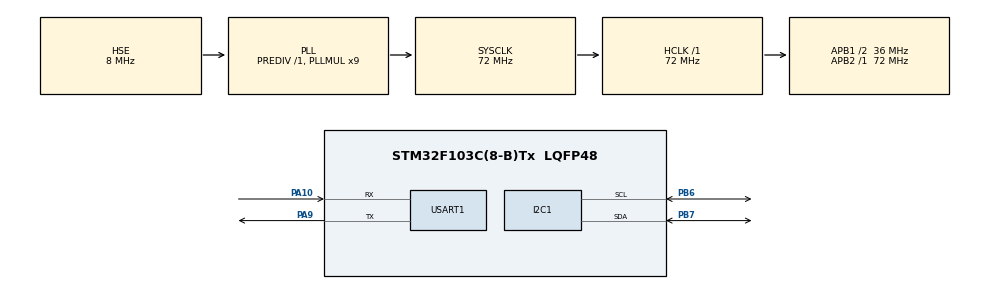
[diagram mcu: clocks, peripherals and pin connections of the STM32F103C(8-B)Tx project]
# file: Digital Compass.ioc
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Mcu.Family=STM32F1
Mcu.Name=STM32F103C(8-B)Tx
Mcu.Package=LQFP48
NVIC.PriorityGroup=NVIC_PRIORITYGROUP_4
PA10.Mode=Asynchronous
PA10.Signal=USART1_RX
PA13.Mode=Serial_Wire
PA13.Signal=SYS_JTMS-SWDIO
PA14.Mode=Serial_Wire
PA14.Signal=SYS_JTCK-SWCLK
PA9.Mode=Asynchronous
PA9.Signal=USART1_TX
PB6.Mode=I2C
PB6.Signal=I2C1_SCL
PB7.Mode=I2C
PB7.Signal=I2C1_SDA
PD0-OSC_IN.Mode=HSE-External-Oscillator
PD0-OSC_IN.Signal=RCC_OSC_IN
PD1-OSC_OUT.Mode=HSE-External-Oscillator
PD1-OSC_OUT.Signal=RCC_OSC_OUT
ProjectManager.HeapSize=0x200
ProjectManager.StackSize=0x400
ProjectManager.TargetToolchain=STM32CubeIDE
RCC.AHBFreq_Value=72000000
RCC.APB1CLKDivider=RCC_HCLK_DIV2
RCC.APB1Freq_Value=36000000
RCC.APB1TimFreq_Value=72000000
RCC.APB2Freq_Value=72000000
RCC.APB2TimFreq_Value=72000000
RCC.HCLKFreq_Value=72000000
RCC.PLLMUL=RCC_PLL_MUL9
RCC.PLLSourceVirtual=RCC_PLLSOURCE_HSE
RCC.SYSCLKFreq_VALUE=72000000
RCC.SYSCLKSource=RCC_SYSCLKSOURCE_PLLCLK
RCC.USBFreq_Value=72000000
USART1.VirtualMode=VM_ASYNC
board=custom

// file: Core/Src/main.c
/* USER CODE BEGIN Header */
/**
  ******************************************************************************
  * @file           : main.c
  * @brief          : Main program body
  ******************************************************************************
  * @attention
  *
  * Copyright (c) 2024 STMicroelectronics.
  * All rights reserved.
  *
  * This software is licensed under terms that can be found in the LICENSE file
  * in the root directory of this software component.
  * If no LICENSE file comes with this software, it is provided AS-IS.
  *
  ******************************************************************************
  */
/* USER CODE END Header */
#include "main.h"
#include "HMC5883_HwInterface.h"

/* USER CODE BEGIN Includes */
#include "../../Drivers/Device Drivers/HMC5883/HMC5883.h"
/* USER CODE END Includes */

I2C_HandleTypeDef hi2c1;

UART_HandleTypeDef huart1;

/* USER CODE BEGIN PV */

HMC5883_t Compass ={

	.HMC5883_HWInterface_t.I2C_Read = I2C_Read,
	.HMC5883_HWInterface_t.I2C_Write = I2C_Write,

};

/* USER CODE END PV */

void SystemClock_Config(void);
static void MX_GPIO_Init(void);
static void MX_I2C1_Init(void);
static void MX_USART1_UART_Init(void);

int main(void)
{

  /* MCU Configuration--------------------------------------------------------*/

  /* Reset of all peripherals, Initializes the Flash interface and the Systick. */
  HAL_Init();

  /* Configure the system clock */
  SystemClock_Config();

  /* Initialize all configured peripherals */
  MX_GPIO_Init();
  MX_I2C1_Init();
  MX_USART1_UART_Init();
  /* USER CODE BEGIN 2 */

  HMC5883_Stat_t L;
  uint16_t Buffer[100];
  uint8_t len;
  HMC5883_Init(&Compass);
  /* USER CODE END 2 */

  /* Infinite loop */
  while (1)
  {

    /* USER CODE BEGIN 3 */

	  L = HMC5883_Get_Readings(&Compass);

	  len= sprintf(Buffer,"Compass: %s, X: %d , Y: %d , Z: %d\n\r ",
	  	                        L == HMC5883_OK ? "OK" : "NOK",
	  	                        Compass.X_Output_Data,
	  	                        Compass.Y_Output_Data,
	  	                        Compass.Z_Output_Data);

	  HAL_UART_Transmit(&huart1, Buffer, strlen(Buffer), 100);
	  	  HAL_Delay(1000);

  }
  /* USER CODE END 3 */
}

void SystemClock_Config(void)
{
  RCC_OscInitTypeDef RCC_OscInitStruct = {0};
  RCC_ClkInitTypeDef RCC_ClkInitStruct = {0};

  /** Initializes the RCC Oscillators according to the specified parameters
  * in the RCC_OscInitTypeDef structure.
  */
  RCC_OscInitStruct.OscillatorType = RCC_OSCILLATORTYPE_HSE;
  RCC_OscInitStruct.HSEState = RCC_HSE_ON;
  RCC_OscInitStruct.HSEPredivValue = RCC_HSE_PREDIV_DIV1;
  RCC_OscInitStruct.HSIState = RCC_HSI_ON;
  RCC_OscInitStruct.PLL.PLLState = RCC_PLL_ON;
  RCC_OscInitStruct.PLL.PLLSource = RCC_PLLSOURCE_HSE;
  RCC_OscInitStruct.PLL.PLLMUL = RCC_PLL_MUL9;
  if (HAL_RCC_OscConfig(&RCC_OscInitStruct) != HAL_OK)
  {
    Error_Handler();
  }

  /** Initializes the CPU, AHB and APB buses clocks
  */
  RCC_ClkInitStruct.ClockType = RCC_CLOCKTYPE_HCLK|RCC_CLOCKTYPE_SYSCLK
                              |RCC_CLOCKTYPE_PCLK1|RCC_CLOCKTYPE_PCLK2;
  RCC_ClkInitStruct.SYSCLKSource = RCC_SYSCLKSOURCE_PLLCLK;
  RCC_ClkInitStruct.AHBCLKDivider = RCC_SYSCLK_DIV1;
  RCC_ClkInitStruct.APB1CLKDivider = RCC_HCLK_DIV2;
  RCC_ClkInitStruct.APB2CLKDivider = RCC_HCLK_DIV1;

  if (HAL_RCC_ClockConfig(&RCC_ClkInitStruct, FLASH_LATENCY_2) != HAL_OK)
  {
    Error_Handler();
  }
}

static void MX_I2C1_Init(void)
{

  hi2c1.Instance = I2C1;
  hi2c1.Init.ClockSpeed = 100000;
  hi2c1.Init.DutyCycle = I2C_DUTYCYCLE_2;
  hi2c1.Init.OwnAddress1 = 0;
  hi2c1.Init.AddressingMode = I2C_ADDRESSINGMODE_7BIT;
  hi2c1.Init.DualAddressMode = I2C_DUALADDRESS_DISABLE;
  hi2c1.Init.OwnAddress2 = 0;
  hi2c1.Init.GeneralCallMode = I2C_GENERALCALL_DISABLE;
  hi2c1.Init.NoStretchMode = I2C_NOSTRETCH_DISABLE;
  if (HAL_I2C_Init(&hi2c1) != HAL_OK)
  {
    Error_Handler();
  }

}

static void MX_USART1_UART_Init(void)
{

  huart1.Instance = USART1;
  huart1.Init.BaudRate = 115200;
  huart1.Init.WordLength = UART_WORDLENGTH_8B;
  huart1.Init.StopBits = UART_STOPBITS_1;
  huart1.Init.Parity = UART_PARITY_NONE;
  huart1.Init.Mode = UART_MODE_TX_RX;
  huart1.Init.HwFlowCtl = UART_HWCONTROL_NONE;
  huart1.Init.OverSampling = UART_OVERSAMPLING_16;
  if (HAL_UART_Init(&huart1) != HAL_OK)
  {
    Error_Handler();
  }

}

static void MX_GPIO_Init(void)
{

  /* GPIO Ports Clock Enable */
  __HAL_RCC_GPIOD_CLK_ENABLE();
  __HAL_RCC_GPIOA_CLK_ENABLE();
  __HAL_RCC_GPIOB_CLK_ENABLE();

}

void Error_Handler(void)
{
  __disable_irq();
  while (1)
  {
  }
}
